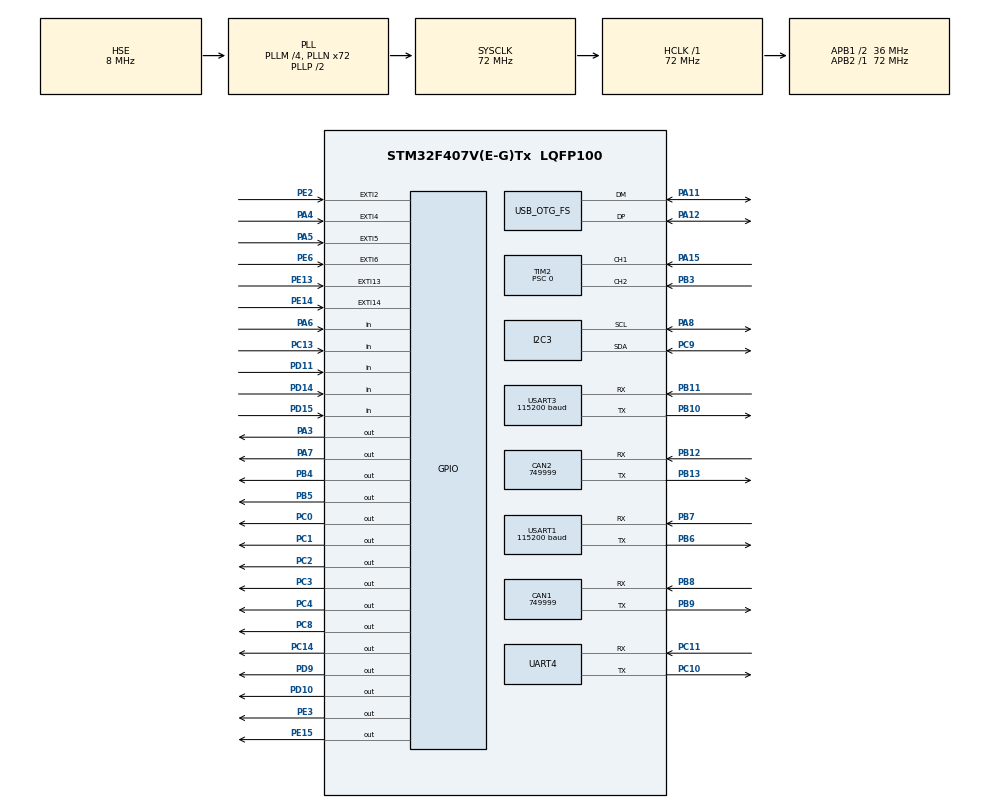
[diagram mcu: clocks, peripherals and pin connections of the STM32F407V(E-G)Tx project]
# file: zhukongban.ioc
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CAN1.BS1=CAN_BS1_1TQ
CAN1.BS2=CAN_BS2_1TQ
CAN1.CalculateBaudRate=749999
CAN1.CalculateTimeBit=1333
CAN1.CalculateTimeQuantum=444.44444444444446
CAN2.BS1=CAN_BS1_1TQ
CAN2.BS2=CAN_BS2_1TQ
CAN2.CalculateBaudRate=749999
CAN2.CalculateTimeBit=1333
CAN2.CalculateTimeQuantum=444.44444444444446
Dma.Request0=USART3_RX
Dma.Request1=USART3_TX
Dma.Request2=USART1_RX
Dma.Request3=USART1_TX
Dma.Request4=UART4_RX
Dma.Request5=UART4_TX
Dma.UART4_RX.4.Direction=DMA_PERIPH_TO_MEMORY
Dma.UART4_RX.4.FIFOMode=DMA_FIFOMODE_DISABLE
Dma.UART4_RX.4.Instance=DMA1_Stream2
Dma.UART4_RX.4.MemDataAlignment=DMA_MDATAALIGN_BYTE
Dma.UART4_RX.4.MemInc=DMA_MINC_ENABLE
Dma.UART4_RX.4.Mode=DMA_NORMAL
Dma.UART4_RX.4.PeriphDataAlignment=DMA_PDATAALIGN_BYTE
Dma.UART4_RX.4.PeriphInc=DMA_PINC_DISABLE
Dma.UART4_RX.4.Priority=DMA_PRIORITY_LOW
Dma.UART4_TX.5.Direction=DMA_MEMORY_TO_PERIPH
Dma.UART4_TX.5.FIFOMode=DMA_FIFOMODE_DISABLE
Dma.UART4_TX.5.Instance=DMA1_Stream4
Dma.UART4_TX.5.MemDataAlignment=DMA_MDATAALIGN_BYTE
Dma.UART4_TX.5.MemInc=DMA_MINC_ENABLE
Dma.UART4_TX.5.Mode=DMA_NORMAL
Dma.UART4_TX.5.PeriphDataAlignment=DMA_PDATAALIGN_BYTE
Dma.UART4_TX.5.PeriphInc=DMA_PINC_DISABLE
Dma.UART4_TX.5.Priority=DMA_PRIORITY_LOW
Dma.USART1_RX.2.Direction=DMA_PERIPH_TO_MEMORY
Dma.USART1_RX.2.FIFOMode=DMA_FIFOMODE_DISABLE
Dma.USART1_RX.2.Instance=DMA2_Stream2
Dma.USART1_RX.2.MemDataAlignment=DMA_MDATAALIGN_BYTE
Dma.USART1_RX.2.MemInc=DMA_MINC_ENABLE
Dma.USART1_RX.2.Mode=DMA_NORMAL
Dma.USART1_RX.2.PeriphDataAlignment=DMA_PDATAALIGN_BYTE
Dma.USART1_RX.2.PeriphInc=DMA_PINC_DISABLE
Dma.USART1_RX.2.Priority=DMA_PRIORITY_LOW
Dma.USART1_TX.3.Direction=DMA_MEMORY_TO_PERIPH
Dma.USART1_TX.3.FIFOMode=DMA_FIFOMODE_DISABLE
Dma.USART1_TX.3.Instance=DMA2_Stream7
Dma.USART1_TX.3.MemDataAlignment=DMA_MDATAALIGN_BYTE
Dma.USART1_TX.3.MemInc=DMA_MINC_ENABLE
Dma.USART1_TX.3.Mode=DMA_NORMAL
Dma.USART1_TX.3.PeriphDataAlignment=DMA_PDATAALIGN_BYTE
Dma.USART1_TX.3.PeriphInc=DMA_PINC_DISABLE
Dma.USART1_TX.3.Priority=DMA_PRIORITY_LOW
Dma.USART3_RX.0.Direction=DMA_PERIPH_TO_MEMORY
Dma.USART3_RX.0.FIFOMode=DMA_FIFOMODE_DISABLE
Dma.USART3_RX.0.Instance=DMA1_Stream1
Dma.USART3_RX.0.MemDataAlignment=DMA_MDATAALIGN_BYTE
Dma.USART3_RX.0.MemInc=DMA_MINC_ENABLE
Dma.USART3_RX.0.Mode=DMA_NORMAL
Dma.USART3_RX.0.PeriphDataAlignment=DMA_PDATAALIGN_BYTE
Dma.USART3_RX.0.PeriphInc=DMA_PINC_DISABLE
Dma.USART3_RX.0.Priority=DMA_PRIORITY_LOW
Dma.USART3_TX.1.Direction=DMA_MEMORY_TO_PERIPH
Dma.USART3_TX.1.FIFOMode=DMA_FIFOMODE_DISABLE
Dma.USART3_TX.1.Instance=DMA1_Stream3
Dma.USART3_TX.1.MemDataAlignment=DMA_MDATAALIGN_BYTE
Dma.USART3_TX.1.MemInc=DMA_MINC_ENABLE
Dma.USART3_TX.1.Mode=DMA_NORMAL
Dma.USART3_TX.1.PeriphDataAlignment=DMA_PDATAALIGN_BYTE
Dma.USART3_TX.1.PeriphInc=DMA_PINC_DISABLE
Dma.USART3_TX.1.Priority=DMA_PRIORITY_LOW
Mcu.Family=STM32F4
Mcu.Name=STM32F407V(E-G)Tx
Mcu.Package=LQFP100
NVIC.DMA1_Stream1_IRQn=true\:0\:0\:false\:false\:true\:false\:true\:true
NVIC.DMA1_Stream2_IRQn=true\:0\:0\:false\:false\:true\:false\:true\:true
NVIC.DMA1_Stream3_IRQn=true\:0\:0\:false\:false\:true\:false\:true\:true
NVIC.DMA1_Stream4_IRQn=true\:0\:0\:false\:false\:true\:false\:true\:true
NVIC.DMA2_Stream2_IRQn=true\:0\:0\:false\:false\:true\:false\:true\:true
NVIC.DMA2_Stream7_IRQn=true\:0\:0\:false\:false\:true\:false\:true\:true
NVIC.EXTI15_10_IRQn=true\:0\:0\:false\:false\:true\:true\:true\:true
NVIC.EXTI2_IRQn=true\:0\:0\:false\:false\:true\:true\:true\:true
NVIC.EXTI4_IRQn=true\:0\:0\:false\:false\:true\:true\:true\:true
NVIC.EXTI9_5_IRQn=true\:0\:0\:false\:false\:true\:true\:true\:true
NVIC.PriorityGroup=NVIC_PRIORITYGROUP_4
NVIC.TIM2_IRQn=true\:0\:0\:false\:false\:true\:true\:true\:true
NVIC.TIM3_IRQn=true\:0\:0\:false\:false\:true\:true\:true\:true
NVIC.TIM4_IRQn=true\:0\:0\:false\:false\:true\:true\:true\:true
NVIC.UART4_IRQn=true\:0\:0\:false\:false\:true\:true\:true\:true
NVIC.USART1_IRQn=true\:0\:0\:false\:false\:true\:true\:true\:true
NVIC.USART3_IRQn=true\:0\:0\:false\:false\:true\:true\:true\:true
PA11.Mode=Host_Only
PA11.Signal=USB_OTG_FS_DM
PA12.Mode=Host_Only
PA12.Signal=USB_OTG_FS_DP
PA13.Mode=Serial_Wire
PA13.Signal=SYS_JTMS-SWDIO
PA14.Mode=Serial_Wire
PA14.Signal=SYS_JTCK-SWCLK
PA15.GPIO_PuPd=GPIO_PULLDOWN
PA15.GPIO_Speed=GPIO_SPEED_FREQ_HIGH
PA15.Signal=S_TIM2_CH1_ETR
PA3.Signal=GPIO_Output
PA4.GPIO_ModeDefaultEXTI=GPIO_MODE_IT_FALLING
PA4.Signal=GPXTI4
PA5.Signal=GPXTI5
PA6.Signal=GPIO_Input
PA7.Signal=GPIO_Output
PA8.Mode=I2C
PA8.Signal=I2C3_SCL
PB10.Mode=Asynchronous
PB10.Signal=USART3_TX
PB11.Mode=Asynchronous
PB11.Signal=USART3_RX
PB12.Mode=CAN_Activate
PB12.Signal=CAN2_RX
PB13.Mode=CAN_Activate
PB13.Signal=CAN2_TX
PB3.GPIO_PuPd=GPIO_PULLDOWN
PB3.GPIO_Speed=GPIO_SPEED_FREQ_HIGH
PB3.Signal=S_TIM2_CH2
PB4.PinState=GPIO_PIN_SET
PB4.Signal=GPIO_Output
PB5.Signal=GPIO_Output
PB6.Mode=Asynchronous
PB6.Signal=USART1_TX
PB7.Mode=Asynchronous
PB7.Signal=USART1_RX
PB8.Mode=CAN_Activate
PB8.Signal=CAN1_RX
PB9.Mode=CAN_Activate
PB9.Signal=CAN1_TX
PC0.Signal=GPIO_Output
PC1.Signal=GPIO_Output
PC10.Mode=Asynchronous
PC10.Signal=UART4_TX
PC11.Mode=Asynchronous
PC11.Signal=UART4_RX
PC12.Signal=UART5_TX
PC13-ANTI_TAMP.Signal=GPIO_Input
PC14-OSC32_IN.Signal=GPIO_Output
PC2.Signal=GPIO_Output
PC3.Signal=GPIO_Output
PC4.Signal=GPIO_Output
PC8.Signal=GPIO_Output
PC9.Mode=I2C
PC9.Signal=I2C3_SDA
PD10.PinState=GPIO_PIN_RESET
PD10.Signal=GPIO_Output
PD11.Signal=GPIO_Input
PD14.Signal=GPIO_Input
PD15.Signal=GPIO_Input
PD2.Signal=UART5_RX
PD5.Signal=USART2_TX
PD6.Signal=USART2_RX
PD9.Signal=GPIO_Output
PE13.Signal=GPXTI13
PE14.GPIO_ModeDefaultEXTI=GPIO_MODE_IT_FALLING
PE14.Signal=GPXTI14
PE15.Signal=GPIO_Output
PE2.GPIO_ModeDefaultEXTI=GPIO_MODE_IT_FALLING
PE2.Signal=GPXTI2
PE3.Signal=GPIO_Output
PE6.Signal=GPXTI6
PH0-OSC_IN.Mode=HSE-External-Oscillator
PH0-OSC_IN.Signal=RCC_OSC_IN
PH1-OSC_OUT.Mode=HSE-External-Oscillator
PH1-OSC_OUT.Signal=RCC_OSC_OUT
ProjectManager.HeapSize=0x200
ProjectManager.StackSize=0x400
ProjectManager.TargetToolchain=MDK-ARM V5.32
RCC.48MHZClocksFreq_Value=48000000
RCC.AHBFreq_Value=72000000
RCC.APB1CLKDivider=RCC_HCLK_DIV2
RCC.APB1Freq_Value=36000000
RCC.APB1TimFreq_Value=72000000
RCC.APB2Freq_Value=72000000
RCC.APB2TimFreq_Value=72000000
RCC.CortexFreq_Value=72000000
RCC.HCLKFreq_Value=72000000
RCC.HSE_VALUE=8000000
RCC.HSI_VALUE=16000000
RCC.LSE_VALUE=32768
RCC.PLLM=4
RCC.PLLN=72
RCC.PLLQ=3
RCC.SYSCLKFreq_VALUE=72000000
RCC.SYSCLKSource=RCC_SYSCLKSOURCE_PLLCLK
RCC.VCOOutputFreq_Value=144000000
SH.S_TIM2_CH1_ETR.0=TIM2_CH1,Encoder_Interface
SH.S_TIM2_CH2.0=TIM2_CH2,Encoder_Interface
TIM2.AutoReloadPreload=TIM_AUTORELOAD_PRELOAD_ENABLE
TIM2.EncoderMode=TIM_ENCODERMODE_TI12
TIM2.Period=0xffffffff
TIM2.Prescaler=0
TIM2.TIM_MasterOutputTrigger=TIM_TRGO_RESET
TIM3.AutoReloadPreload=TIM_AUTORELOAD_PRELOAD_ENABLE
TIM3.Period=999
TIM3.Prescaler=7199
TIM4.AutoReloadPreload=TIM_AUTORELOAD_PRELOAD_ENABLE
TIM4.Period=999
TIM4.Prescaler=7199
UART4.Parity=PARITY_NONE
UART4.VirtualMode=Asynchronous
UART4.WordLength=WORDLENGTH_8B
USART1.BaudRate=115200
USART1.Parity=PARITY_EVEN
USART1.VirtualMode=VM_ASYNC
USART1.WordLength=WORDLENGTH_9B
USART3.BaudRate=115200
USART3.Parity=PARITY_EVEN
USART3.VirtualMode=VM_ASYNC
USART3.WordLength=WORDLENGTH_9B
USB_OTG_FS.VirtualMode=Host_Only
USB_OTG_FS.phy_itface=HCD_PHY_EMBEDDED
VP_RTC_VS_RTC_Activate.Mode=RTC_Enabled
VP_TIM3_VS_ClockSourceINT.Mode=Internal
VP_TIM4_VS_ClockSourceINT.Mode=Internal
board=custom

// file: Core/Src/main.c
/* USER CODE BEGIN Header */
/**
  ******************************************************************************
  * @file           : main.c
  * @brief          : Main program body
  ******************************************************************************
  * @attention
  *
  * Copyright (c) 2025 STMicroelectronics.
  * All rights reserved.
  *
  * This software is licensed under terms that can be found in the LICENSE file
  * in the root directory of this software component.
  * If no LICENSE file comes with this software, it is provided AS-IS.
  *
  ******************************************************************************
  */
/* USER CODE END Header */
#include "main.h"
#include "can.h"
#include "dma.h"
#include "i2c.h"
#include "rtc.h"
#include "tim.h"
#include "usart.h"
#include "usb_otg.h"
#include "gpio.h"

/* USER CODE BEGIN Includes */
#include "hardware.h"
#include "stm32f4xx.h"
uint8_t rx1_buffer[RX_BUFFER_SIZE];   //接电机，串口1 485
uint8_t rx4_buffer[RX_BUFFER_SIZE];   //接高压板，串口4  232
uint8_t rx3_buffer[RX_BUFFER_SIZE];   //接上位机，串口3 422
uint8_t tim2_buffer[5];
uint8_t fault_buffer0[11]= {0x5A, 0x01, 0x08, 0x66, 0x66,
                       0x00, 0x00, 0x01, 0x00, 0x00, 0x55};
uint8_t fault_buffer1[11]= {0x5A, 0x01, 0x08, 0x88, 0x88,
                       0x00, 0x00, 0x01, 0x00, 0x00, 0x55};
uint8_t fault_buffer2[11]= {0x5A, 0x01, 0x08, 0x99, 0x99,
                       0x00, 0x00, 0x01, 0x00, 0x00, 0x55};
uint8_t fault_buffer3[11]= {0x5A, 0x01, 0x08, 0xAA, 0xAA,
                       0x00, 0x00, 0x01, 0x00, 0x00, 0x55};

uint16_t rx1_length;
uint16_t rx4_length;
uint16_t rx3_length;
uint16_t tim2_length;

uint8_t  rx1_flag = 0;
uint8_t  rx4_flag = 0;
uint8_t  rx3_flag = 0;

uint8_t motor_flag = 0;     //如果等于0则对应信号转高压板
uint8_t com_flag = 0;       //如果等于1则对应信号转高压板

uint16_t k =0;
uint8_t expose_flag = 0;    //曝光标志位
uint8_t pre_flag = 0;       //预备标志位
uint8_t Gybpre_flag =0;     //高压板是否准备
uint8_t Syn_flag =0;        //同步标志位,没用到
uint8_t over_flag = 0;      //结束标志位，没用到
uint8_t fault_flag=0;       //高压板报错
uint8_t motor_revflag=0;    //电机反转到位
uint8_t detector_flag=0;    //探测器的连接、参数设置之后点“开始采集按钮”
uint8_t Gybpre_key=1; 			//高压板返回信号的按键

uint16_t n_total;       //拍照总张数，从上位机读取
uint16_t t_time;        //周期,帧率倒数
uint8_t  pose_time;     //曝光时间
uint8_t  state = 0;     //用于判断进度，初始是0，pre后为1，expose结束后返回0
uint8_t stop_flag = 0;  //没用到
uint8_t sync_in=0;  //探测器的SYNCIN
uint8_t sync_out=0;  //探测器的SYNCout

uint32_t pos = 0; // 编码器计数值
uint8_t diretion=0;//编码器方向,逆时针是01，顺时针是00

unsigned char SynState = 0;   //同步
unsigned char ExpState = 0;   //曝光
/* USER CODE END Includes */

void SystemClock_Config(void);

int main(void)
{

  /* MCU Configuration--------------------------------------------------------*/

  /* Reset of all peripherals, Initializes the Flash interface and the Systick. */
  HAL_Init();

  /* Configure the system clock */
  SystemClock_Config();

  /* Initialize all configured peripherals */
  MX_GPIO_Init();
  MX_DMA_Init();
  MX_CAN1_Init();
  MX_CAN2_Init();
  MX_I2C3_Init();
  MX_USART1_UART_Init();
  MX_USART3_UART_Init();
  MX_USB_OTG_FS_HCD_Init();
  MX_RTC_Init();
  MX_TIM2_Init();
  MX_TIM3_Init();
  MX_UART4_Init();
  MX_TIM4_Init();
  /* USER CODE BEGIN 2 */

//	HAL_UART_Receive_IT(&huart1,rx_buffer ,sizeof(rx_buffer));  //中断接收

// 使能空闲中断
  __HAL_UART_ENABLE_IT(&huart1, UART_IT_IDLE);
  __HAL_UART_ENABLE_IT(&huart4, UART_IT_IDLE);
	__HAL_UART_ENABLE_IT(&huart3, UART_IT_IDLE);

//  // 启动DMA接收
  HAL_UART_Receive_DMA(&huart1, rx1_buffer, sizeof(rx1_buffer));
	HAL_UART_Receive_DMA(&huart4, rx4_buffer, sizeof(rx4_buffer));
	HAL_UART_Receive_DMA(&huart3, rx3_buffer, sizeof(rx3_buffer));

	HAL_TIM_Encoder_Start(&htim2, TIM_CHANNEL_ALL);   // 一次启动所有通道
	__HAL_TIM_SET_COUNTER(&htim2,0);  //清零定时器2的计数值
  /* USER CODE END 2 */

  /* Infinite loop */
  /* USER CODE BEGIN WHILE */

	t_time  = 1/20*1000 ;    //20帧用的毫秒数
	pose_time = t_time /2 ;  //曝光时间占一半

  while (1)
  {

		if(rx3_flag ==1)  // 上位机下发数据
		{
			rx3_flag = 0;
			if(rx3_buffer[0] == 0x5A)  //除电机外的数据
			{
				GybMessage message_422 =
				{
					.Header = rx3_buffer[0], //数据帧头
					.Addr = rx3_buffer[1],  // 数据地址
					.Len = rx3_buffer[2],   // 数据长度
					.Byte0 = rx3_buffer[3], // 指令
					.Byte1 = rx3_buffer[4], // 特殊位索引1
					.Byte2 = rx3_buffer[5], // 特殊位索引 2
					.Byte3 = rx3_buffer[6], // 特殊位索引 3
					.Byte4 = rx3_buffer[7], // 数据字节 1
					.Byte5 = rx3_buffer[8], // 数据字节 2
					.Byte6 = rx3_buffer[9], // 数据字节 3
					.Byte7 = rx3_buffer[10] // 数据字节 4
				};

				if(message_422.Byte0 == 0x21 && message_422.Byte4 == 0x01)   //上位机手闸一
				{
					pre_flag = 1;
				}
				else if(message_422.Byte0 == 0x22 && message_422.Byte4 == 0x01)  //上位机手闸二
				{
					expose_flag = 1;
				}
				else if(message_422.Byte0 == 0x55 && message_422.Byte1 == 0x66)  //松开电机刹车线
				{
					HAL_GPIO_WritePin(GPIOB, GPIO_PIN_4, GPIO_PIN_RESET);  //低电平有效
				}
				else if(message_422.Byte0 == 0x55 && message_422.Byte1 == 0x55)  //电机反转
				{
					motor_revflag = 1;
				}
				else if(message_422.Byte0 == 0x66 && message_422.Byte1 == 0x01 && message_422.Byte2 == 0x01)  //在探测器的syncin
				{
					sync_in = 1;
				}
				else if(message_422.Byte0 == 0x66 && message_422.Byte1 == 0x02 && message_422.Byte2 == 0x02)  //在探测器的syncout
				{
					sync_out = 1;
				}
				else if(message_422.Byte0 == 0x77 && message_422.Byte1 == 0x77)  //在探测器的连接、参数设置之后点“开始采集按钮”
				{
					detector_flag = 1;
				}
				else if(message_422.Byte0 == 0x23 && message_422.Byte4 == 0x01)   //上位机停止
				{
					stop_flag = 1;
				}
				else if(message_422.Byte0 == 0x27)         //拍照总张数
				{
					n_total = message_422.Byte4*256 + message_422.Byte5;
				}
				else if(message_422.Byte0 == 0x15)         //脉冲曝光周期 T
				{
					t_time = message_422.Byte3*256 + message_422.Byte4;  //t_time它的单位是0.1ms,

          __HAL_TIM_SET_AUTORELOAD(&htim4, t_time/2-1);  // 修改 TIM4 的自动重装载值（ARR）
         // __HAL_TIM_SET_PRESCALER(&htim2, new_psc);   // 修改 TIM4 的和预分频（PSC）
          HAL_TIM_GenerateEvent(&htim2, TIM_EVENTSOURCE_UPDATE);  //立即生效
				}
				else if(message_422.Byte0 == 0x16)         //曝光时间 T1
				{
					pose_time = message_422.Byte3*256 + message_422.Byte4;
				 __HAL_TIM_SET_AUTORELOAD(&htim3, pose_time-1);  // 修改 TIM4 的自动重装载值（ARR）
					 HAL_TIM_GenerateEvent(&htim2, TIM_EVENTSOURCE_UPDATE);
				}
				else
				{
					com_flag = 1;
					HAL_UART_Transmit_DMA(&huart4, rx3_buffer, rx3_length);   //转发给高压板
				}
			}

			else if(rx3_buffer[0] == 0x01)  	//增加一个判断标志，判断是否是发送给电机的数据
			{
				motor_flag =1;

				HAL_UART_Transmit_DMA(&huart1, rx3_buffer, rx3_length);   //转发给电机
			}
		}
		HAL_GPIO_WritePin(GPIOA, GPIO_PIN_3, GPIO_PIN_SET);

		// 查询电机位置，但是读的是定时器的计数和电机无关
    pos = __HAL_TIM_GET_COUNTER(&htim2);
		diretion=__HAL_TIM_IS_TIM_COUNTING_DOWN(&htim2);
		tim2_buffer[0] =diretion;
		tim2_buffer[1] = (uint8_t)(pos & 0xFF);
    tim2_buffer[2] = (uint8_t)((pos >> 8) & 0xFF);
    tim2_buffer[3] = (uint8_t)((pos >> 16) & 0xFF);
    tim2_buffer[4] = (uint8_t)((pos >> 24) & 0xFF);
    tim2_length = 5;
		HAL_UART_Transmit(&huart3, tim2_buffer, tim2_length ,0xFFFF );

		if (pre_flag == 1)  //判断是否来了准备信号
		{
			HAL_GPIO_WritePin(GPIOA,GPIO_PIN_7,GPIO_PIN_SET); //IO口通知高压板准备
			pre_flag = 0;

	  }

		if(HAL_GPIO_ReadPin(GPIOA, GPIO_PIN_6) == GPIO_PIN_RESET && Gybpre_key==1 )  //高压板的返回有效信号，PA5,一次连续的低电平只Gybpre_flag=1，一次
		{
			Gybpre_key=0;
			Gybpre_flag=1;
		}
		else if(HAL_GPIO_ReadPin(GPIOA, GPIO_PIN_6) == GPIO_PIN_SET)
		{
	  	Gybpre_key=1;
		}

		if( Gybpre_flag == 1 && motor_revflag == 1 && detector_flag == 1)  //判断电机是否反转好&&高压板是否准备好&&探测器准备好
		{
			state = 1; //状态机
			Gybpre_flag=0;
			motor_revflag=0;
			detector_flag=0;
		}

	  if (sync_in==1)
			{
				sync_in=0;
				if (state ==1 && expose_flag ==1)  //state代表一切就绪，expose代表发出pwm(手闸二)
					{
						state = 0;
						expose_flag =0;
						HAL_TIM_Base_Start_IT(&htim4);  //启动计时器4计数，产生PWM
						HAL_GPIO_WritePin(GPIOE, GPIO_PIN_3, GPIO_PIN_SET); //蜂鸣器
						HAL_GPIO_WritePin(GPIOA, GPIO_PIN_3, GPIO_PIN_SET); //板子上的蜂鸣器
					}
			}

			if (sync_out==1)
			{
				if (SynState==n_total)
				{
					SynState=0;
					HAL_GPIO_WritePin(GPIOE, GPIO_PIN_3, GPIO_PIN_RESET); //蜂鸣器
					HAL_GPIO_WritePin(GPIOA, GPIO_PIN_3, GPIO_PIN_RESET); //板子上的蜂鸣器
					//HAL_GPIO_WritePin(GPIOA,GPIO_PIN_7,GPIO_PIN_RESET); //怎么通知高压板结束准备，还未定。金想要让上位机通过串口发命令
					HAL_UART_Transmit(&huart3, fault_buffer3, 11 ,0xFFFF );
				}
			}

		HAL_Delay(50);

    /* USER CODE END WHILE */

  }
}

void SystemClock_Config(void)
{
  RCC_OscInitTypeDef RCC_OscInitStruct = {0};
  RCC_ClkInitTypeDef RCC_ClkInitStruct = {0};

  /** Configure the main internal regulator output voltage
  */
  __HAL_RCC_PWR_CLK_ENABLE();
  __HAL_PWR_VOLTAGESCALING_CONFIG(PWR_REGULATOR_VOLTAGE_SCALE1);

  /** Initializes the RCC Oscillators according to the specified parameters
  * in the RCC_OscInitTypeDef structure.
  */
  RCC_OscInitStruct.OscillatorType = RCC_OSCILLATORTYPE_LSI|RCC_OSCILLATORTYPE_HSE;
  RCC_OscInitStruct.HSEState = RCC_HSE_ON;
  RCC_OscInitStruct.LSIState = RCC_LSI_ON;
  RCC_OscInitStruct.PLL.PLLState = RCC_PLL_ON;
  RCC_OscInitStruct.PLL.PLLSource = RCC_PLLSOURCE_HSE;
  RCC_OscInitStruct.PLL.PLLM = 4;
  RCC_OscInitStruct.PLL.PLLN = 72;
  RCC_OscInitStruct.PLL.PLLP = RCC_PLLP_DIV2;
  RCC_OscInitStruct.PLL.PLLQ = 3;
  if (HAL_RCC_OscConfig(&RCC_OscInitStruct) != HAL_OK)
  {
    Error_Handler();
  }

  /** Initializes the CPU, AHB and APB buses clocks
  */
  RCC_ClkInitStruct.ClockType = RCC_CLOCKTYPE_HCLK|RCC_CLOCKTYPE_SYSCLK
                              |RCC_CLOCKTYPE_PCLK1|RCC_CLOCKTYPE_PCLK2;
  RCC_ClkInitStruct.SYSCLKSource = RCC_SYSCLKSOURCE_PLLCLK;
  RCC_ClkInitStruct.AHBCLKDivider = RCC_SYSCLK_DIV1;
  RCC_ClkInitStruct.APB1CLKDivider = RCC_HCLK_DIV2;
  RCC_ClkInitStruct.APB2CLKDivider = RCC_HCLK_DIV1;

  if (HAL_RCC_ClockConfig(&RCC_ClkInitStruct, FLASH_LATENCY_2) != HAL_OK)
  {
    Error_Handler();
  }
}

/* USER CODE BEGIN 4 */

void HAL_GPIO_EXTI_Callback(uint16_t GPIO_Pin)
{
	 if(GPIO_Pin == GPIO_PIN_2)   //EMC-急停告知;PE2
   {
		HAL_UART_Transmit(&huart3, fault_buffer1, 11 ,0xFFFF );
	 }

	 if(GPIO_Pin == GPIO_PIN_4)   //  PA4高压板的KV85
   {
		HAL_UART_Transmit(&huart3, fault_buffer0, 11 ,0xFFFF );
	 }

	 if(GPIO_Pin == GPIO_PIN_5)   //高压板报错，Fault。PA5。高压板报错需要急停吗？
   {
		fault_flag = 1;
		  HAL_TIM_Base_Stop_IT(&htim4);  	//  停止发PWM

			DataFrame_Motor1 frame1 =
			{
					.Header = 0x01,
					.Cmd = 0x05,
					.addr = 0x0123,
					.data = 0xFF00
				};

			DataFrame_Motor1 *p1 = &frame1;
			uint8_t data[8];
			Send_motor1(p1, data);//计算校验位CRC
			HAL_UART_Transmit_DMA(&huart1, data, sizeof(data));  //电机急停止
			HAL_UART_Transmit(&huart3, fault_buffer2, 11 ,0xFFFF );
	 }

	 if(GPIO_Pin == GPIO_PIN_6)  //PE6,手闸二
   {
		expose_flag =1;
	 }

	 if(GPIO_Pin == GPIO_PIN_13)  //SYNCOUT探测器的采集请求信号;PE13
   {
		 if(sync_out==1)
		 {
			 if(SynState < n_total)
				{
					HAL_GPIO_WritePin(GPIOC, GPIO_PIN_4, GPIO_PIN_SET);   //拉高曝光引脚COM ,PC4
					HAL_TIM_Base_Start_IT(&htim3);
					SynState ++;
				}

			}
	 }

	 	if(GPIO_Pin == GPIO_PIN_14)  //探测器返回信号FPD;PE14
   {
	 // __HAL_TIM_SET_COUNTER(&htim3,0);  //清零定时器3的计数值
		 HAL_TIM_Base_Start_IT(&htim3);
		 HAL_GPIO_WritePin(GPIOC, GPIO_PIN_4, GPIO_PIN_SET);   //拉高曝光引脚COM ,PC4
	 }

 }

 void HAL_TIM_PeriodElapsedCallback(TIM_HandleTypeDef *htim)  //定时器中断回调函数
{
		if (htim->Instance == TIM3)
    {
				HAL_GPIO_WritePin(GPIOC, GPIO_PIN_4, GPIO_PIN_RESET);   //拉低曝光引脚COM ,PC4
        HAL_TIM_Base_Stop_IT(&htim3);  	//  停止定时器（避免计数干扰）
    }

		if (htim->Instance == TIM4)
    {
			if(SynState < 2 * n_total)
			{
				HAL_GPIO_TogglePin(GPIOE, GPIO_PIN_15);    //SYNC_InP,启动同步
				SynState ++;
			}
			else
			{
				SynState=0;
		    HAL_TIM_Base_Stop_IT(&htim4);  	//  停止定时器（避免计数干扰）
				HAL_GPIO_WritePin(GPIOE, GPIO_PIN_3, GPIO_PIN_RESET); //蜂鸣器
				HAL_GPIO_WritePin(GPIOA, GPIO_PIN_3, GPIO_PIN_RESET); //板子上的蜂鸣器
			//	HAL_GPIO_WritePin(GPIOA,GPIO_PIN_7,GPIO_PIN_RESET); //IO口通知高压板结束准备
				HAL_UART_Transmit(&huart3, fault_buffer3, 11 ,0xFFFF );
			}
    }
}
/* USER CODE END 4 */

void Error_Handler(void)
{
  __disable_irq();
  while (1)
  {
  }
}
